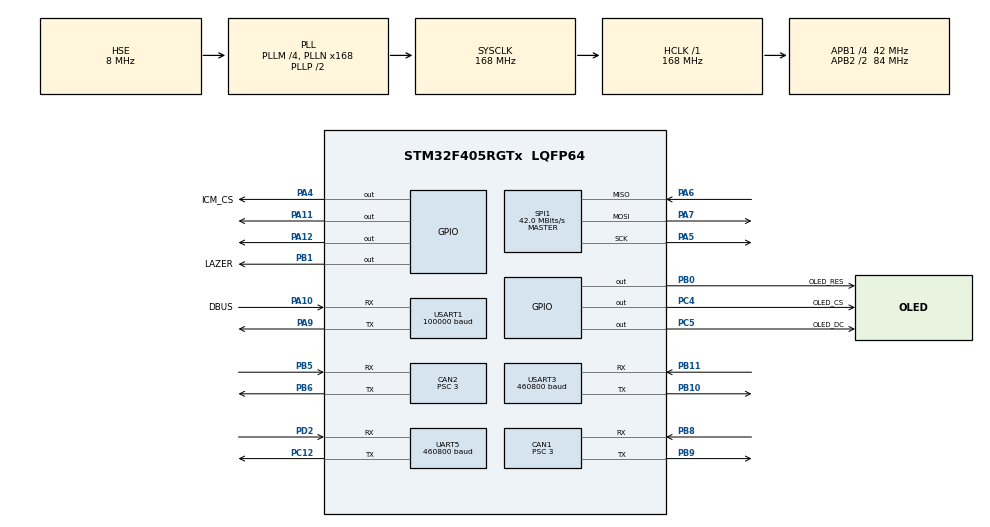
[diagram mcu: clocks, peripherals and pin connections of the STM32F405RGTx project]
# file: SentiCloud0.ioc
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CAN1.ABOM=ENABLE
CAN1.AWUM=DISABLE
CAN1.BS1=CAN_BS1_9TQ
CAN1.BS2=CAN_BS2_4TQ
CAN1.CalculateTimeQuantum=71.42857142857143
CAN1.NART=DISABLE
CAN1.Prescaler=3
CAN2.ABOM=ENABLE
CAN2.AWUM=DISABLE
CAN2.BS1=CAN_BS1_9TQ
CAN2.BS2=CAN_BS2_4TQ
CAN2.CalculateTimeQuantum=71.42857142857143
CAN2.NART=DISABLE
CAN2.Prescaler=3
Dma.Request0=SPI1_TX
Dma.Request1=USART1_RX
Dma.Request2=USART3_RX
Dma.Request3=USART3_TX
Dma.Request4=UART5_RX
Dma.Request5=UART5_TX
Dma.SPI1_TX.0.Direction=DMA_MEMORY_TO_PERIPH
Dma.SPI1_TX.0.FIFOMode=DMA_FIFOMODE_DISABLE
Dma.SPI1_TX.0.Instance=DMA2_Stream3
Dma.SPI1_TX.0.MemDataAlignment=DMA_MDATAALIGN_BYTE
Dma.SPI1_TX.0.MemInc=DMA_MINC_ENABLE
Dma.SPI1_TX.0.Mode=DMA_NORMAL
Dma.SPI1_TX.0.PeriphDataAlignment=DMA_PDATAALIGN_BYTE
Dma.SPI1_TX.0.PeriphInc=DMA_PINC_DISABLE
Dma.SPI1_TX.0.Priority=DMA_PRIORITY_LOW
Dma.UART5_RX.4.Direction=DMA_PERIPH_TO_MEMORY
Dma.UART5_RX.4.FIFOMode=DMA_FIFOMODE_DISABLE
Dma.UART5_RX.4.Instance=DMA1_Stream0
Dma.UART5_RX.4.MemDataAlignment=DMA_MDATAALIGN_BYTE
Dma.UART5_RX.4.MemInc=DMA_MINC_ENABLE
Dma.UART5_RX.4.Mode=DMA_NORMAL
Dma.UART5_RX.4.PeriphDataAlignment=DMA_PDATAALIGN_BYTE
Dma.UART5_RX.4.PeriphInc=DMA_PINC_DISABLE
Dma.UART5_RX.4.Priority=DMA_PRIORITY_LOW
Dma.UART5_TX.5.Direction=DMA_MEMORY_TO_PERIPH
Dma.UART5_TX.5.FIFOMode=DMA_FIFOMODE_DISABLE
Dma.UART5_TX.5.Instance=DMA1_Stream7
Dma.UART5_TX.5.MemDataAlignment=DMA_MDATAALIGN_BYTE
Dma.UART5_TX.5.MemInc=DMA_MINC_ENABLE
Dma.UART5_TX.5.Mode=DMA_NORMAL
Dma.UART5_TX.5.PeriphDataAlignment=DMA_PDATAALIGN_BYTE
Dma.UART5_TX.5.PeriphInc=DMA_PINC_DISABLE
Dma.UART5_TX.5.Priority=DMA_PRIORITY_LOW
Dma.USART1_RX.1.Direction=DMA_PERIPH_TO_MEMORY
Dma.USART1_RX.1.FIFOMode=DMA_FIFOMODE_DISABLE
Dma.USART1_RX.1.Instance=DMA2_Stream2
Dma.USART1_RX.1.MemDataAlignment=DMA_MDATAALIGN_BYTE
Dma.USART1_RX.1.MemInc=DMA_MINC_ENABLE
Dma.USART1_RX.1.Mode=DMA_NORMAL
Dma.USART1_RX.1.PeriphDataAlignment=DMA_PDATAALIGN_BYTE
Dma.USART1_RX.1.PeriphInc=DMA_PINC_DISABLE
Dma.USART1_RX.1.Priority=DMA_PRIORITY_LOW
Dma.USART3_RX.2.Direction=DMA_PERIPH_TO_MEMORY
Dma.USART3_RX.2.FIFOMode=DMA_FIFOMODE_DISABLE
Dma.USART3_RX.2.Instance=DMA1_Stream1
Dma.USART3_RX.2.MemDataAlignment=DMA_MDATAALIGN_BYTE
Dma.USART3_RX.2.MemInc=DMA_MINC_ENABLE
Dma.USART3_RX.2.Mode=DMA_NORMAL
Dma.USART3_RX.2.PeriphDataAlignment=DMA_PDATAALIGN_BYTE
Dma.USART3_RX.2.PeriphInc=DMA_PINC_DISABLE
Dma.USART3_RX.2.Priority=DMA_PRIORITY_LOW
Dma.USART3_TX.3.Direction=DMA_MEMORY_TO_PERIPH
Dma.USART3_TX.3.FIFOMode=DMA_FIFOMODE_DISABLE
Dma.USART3_TX.3.Instance=DMA1_Stream3
Dma.USART3_TX.3.MemDataAlignment=DMA_MDATAALIGN_BYTE
Dma.USART3_TX.3.MemInc=DMA_MINC_ENABLE
Dma.USART3_TX.3.Mode=DMA_NORMAL
Dma.USART3_TX.3.PeriphDataAlignment=DMA_PDATAALIGN_BYTE
Dma.USART3_TX.3.PeriphInc=DMA_PINC_DISABLE
Dma.USART3_TX.3.Priority=DMA_PRIORITY_LOW
FREERTOS.INCLUDE_uxTaskGetStackHighWaterMark=1
FREERTOS.INCLUDE_vTaskDelayUntil=1
FREERTOS.MEMORY_ALLOCATION=0
FREERTOS.Tasks01=defaultTask,0,128,StartDefaultTask,Default,NULL,Dynamic,NULL,NULL
FREERTOS.configLIBRARY_MAX_SYSCALL_INTERRUPT_PRIORITY=5
FREERTOS.configRECORD_STACK_HIGH_ADDRESS=1
Mcu.Family=STM32F4
Mcu.Name=STM32F405RGTx
Mcu.Package=LQFP64
NVIC.CAN1_RX0_IRQn=true\:4\:0\:true\:false\:true\:false\:true\:true
NVIC.CAN2_RX0_IRQn=true\:4\:0\:true\:false\:true\:false\:true\:true
NVIC.DMA1_Stream0_IRQn=true\:5\:0\:false\:false\:true\:true\:false\:true
NVIC.DMA1_Stream1_IRQn=true\:5\:0\:false\:false\:true\:true\:false\:true
NVIC.DMA1_Stream3_IRQn=true\:5\:0\:false\:false\:true\:true\:false\:true
NVIC.DMA1_Stream7_IRQn=true\:5\:0\:false\:false\:true\:true\:false\:true
NVIC.DMA2_Stream2_IRQn=true\:5\:0\:false\:false\:true\:true\:false\:true
NVIC.DMA2_Stream3_IRQn=true\:5\:0\:false\:false\:true\:true\:false\:true
NVIC.PriorityGroup=NVIC_PRIORITYGROUP_4
NVIC.SPI1_IRQn=true\:5\:0\:false\:false\:true\:true\:true\:true
NVIC.TIM8_TRG_COM_TIM14_IRQn=true\:0\:0\:false\:false\:true\:false\:false\:true
NVIC.TimeBase=TIM8_TRG_COM_TIM14_IRQn
NVIC.TimeBaseIP=TIM14
NVIC.UART5_IRQn=true\:6\:0\:true\:false\:true\:true\:true\:true
NVIC.USART1_IRQn=true\:5\:0\:false\:false\:true\:true\:true\:true
NVIC.USART3_IRQn=true\:5\:0\:false\:false\:true\:true\:true\:true
PA10.GPIO_Label=DBUS
PA10.Mode=Asynchronous
PA10.Signal=USART1_RX
PA11.Signal=GPIO_Output
PA12.Signal=GPIO_Output
PA13.Mode=Serial_Wire
PA13.Signal=SYS_JTMS-SWDIO
PA14.Mode=Serial_Wire
PA14.Signal=SYS_JTCK-SWCLK
PA4.GPIO_Label=ICM_CS
PA4.Signal=GPIO_Output
PA5.Mode=Full_Duplex_Master
PA5.Signal=SPI1_SCK
PA6.Mode=Full_Duplex_Master
PA6.Signal=SPI1_MISO
PA7.Mode=Full_Duplex_Master
PA7.Signal=SPI1_MOSI
PA9.Mode=Asynchronous
PA9.Signal=USART1_TX
PB0.GPIO_Label=OLED_RES
PB0.Signal=GPIO_Output
PB1.GPIO_Label=LAZER
PB1.Signal=GPIO_Output
PB10.Mode=Asynchronous
PB10.Signal=USART3_TX
PB11.Mode=Asynchronous
PB11.Signal=USART3_RX
PB5.Mode=Slave
PB5.Signal=CAN2_RX
PB6.Mode=Slave
PB6.Signal=CAN2_TX
PB8.Mode=Master
PB8.Signal=CAN1_RX
PB9.Mode=Master
PB9.Signal=CAN1_TX
PC12.Mode=Asynchronous
PC12.Signal=UART5_TX
PC4.GPIO_Label=OLED_CS
PC4.Signal=GPIO_Output
PC5.GPIO_Label=OLED_DC
PC5.Signal=GPIO_Output
PD2.Mode=Asynchronous
PD2.Signal=UART5_RX
PH0-OSC_IN.Mode=HSE-External-Oscillator
PH0-OSC_IN.Signal=RCC_OSC_IN
PH1-OSC_OUT.Mode=HSE-External-Oscillator
PH1-OSC_OUT.Signal=RCC_OSC_OUT
ProjectManager.HeapSize=0x800
ProjectManager.StackSize=0x800
ProjectManager.TargetToolchain=MDK-ARM V5
RCC.48MHZClocksFreq_Value=84000000
RCC.AHBFreq_Value=168000000
RCC.APB1CLKDivider=RCC_HCLK_DIV4
RCC.APB1Freq_Value=42000000
RCC.APB1TimFreq_Value=84000000
RCC.APB2CLKDivider=RCC_HCLK_DIV2
RCC.APB2Freq_Value=84000000
RCC.APB2TimFreq_Value=168000000
RCC.CortexFreq_Value=168000000
RCC.HCLKFreq_Value=168000000
RCC.HSE_VALUE=8000000
RCC.HSI_VALUE=16000000
RCC.LSE_VALUE=32768
RCC.PLLM=4
RCC.PLLN=168
RCC.PLLSourceVirtual=RCC_PLLSOURCE_HSE
RCC.SYSCLKFreq_VALUE=168000000
RCC.SYSCLKSource=RCC_SYSCLKSOURCE_PLLCLK
RCC.VCOOutputFreq_Value=336000000
SPI1.CalculateBaudRate=42.0 MBits/s
SPI1.Direction=SPI_DIRECTION_2LINES
SPI1.Mode=SPI_MODE_MASTER
SPI1.VirtualType=VM_MASTER
UART5.BaudRate=460800
UART5.VirtualMode=Asynchronous
UART5.WordLength=WORDLENGTH_8B
USART1.BaudRate=100000
USART1.Parity=PARITY_EVEN
USART1.VirtualMode=VM_ASYNC
USART1.WordLength=WORDLENGTH_9B
USART3.BaudRate=460800
USART3.VirtualMode=VM_ASYNC
VP_FREERTOS_VS_CMSIS_V1.Mode=CMSIS_V1
VP_SYS_VS_tim14.Mode=TIM14
board=custom

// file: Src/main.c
/* USER CODE BEGIN Header */
/**
  ******************************************************************************
  * @file           : main.c
  * @brief          : Main program body
  ******************************************************************************
  * @attention
  *
  * <h2><center>&copy; Copyright (c) 2020 STMicroelectronics.
  * All rights reserved.</center></h2>
  *
  * This software component is licensed by ST under BSD 3-Clause license,
  * the "License"; You may not use this file except in compliance with the
  * License. You may obtain a copy of the License at:
  *                        opensource.org/licenses/BSD-3-Clause
  *
  ******************************************************************************
  */
/* USER CODE END Header */

#include "main.h"
#include "cmsis_os.h"
#include "can.h"
#include "dma.h"
#include "spi.h"
#include "usart.h"
#include "gpio.h"

/* USER CODE BEGIN Includes */
//#include "stdio.h"	// stdio.h may cause CAN RX error
//#include "stdio.h"
#include "task_SentiCloud.hpp"
#include <string.h>
#include "SEGGER_SYSVIEW.h"
//#include "app_AmmoFeed.hpp"
/* USER CODE END Includes */

void SystemClock_Config(void);
void MX_FREERTOS_Init(void);

/* USER CODE BEGIN 0 */

#ifdef __MAIN_DEBUG
uint8_t buf[100];
uint8_t s[] = "uart-test";

#ifdef __VISION_TEST

int v_case;

uint8_t str_normal[] = {0xff,0x13,0x9a,0x99,0x99,0x3f,0x9a,0x99,0x59,0x40,0x1,0x98,0x0,0x0,0x0,0x0,0x8f,0xd};
uint8_t s1[] = {0xff ,0x13 ,0x9a ,0x99 ,0x99 ,0x3f ,0x9a ,0x99 ,0x59 ,0x40,0x1 ,0xfa ,0x0 ,0x0 ,0x0 ,0x0 ,0xf1 ,0xd};
uint8_t trush[] = {0x13, 0x9a ,0x99,0x99, 0x3f};
uint8_t s2[] = {0xff ,0x13 ,0x9a ,0x99 ,0x99 ,0x3f ,0x9a ,0x99 ,0x59 ,0x40,0x1 ,0xfb ,0x0 ,0x0 ,0x0 ,0x0 ,0xf2 ,0xd };

uint8_t s3_a[] = {0x13, 0x9a ,0x99,0x99, 0x3f,0xff ,0x13 ,0x9a ,0x99 ,0x99 ,0x3f ,0x9a ,0x99 ,0x59 ,0x40,0x1 ,0xfa ,0x0};
uint8_t s3_b_s[] = {0x0 ,0x0 ,0x0 ,0xf1 ,0xd,0xff ,0x13 ,0x9a ,0x99 ,0x99 ,0x3f ,0x9a ,0x99 ,0x59 ,0x40,0x1 ,0xfb ,0x0 ,0x0 ,0x0 ,0x0 ,0xf2 ,0xd };

uint8_t trush4[]={0x54 ,0x13 ,0x9a ,0x99 ,0x99 ,0x3f ,0x9a ,0x99 ,0x59 ,0x40,0x1 ,0xfa ,0x20 ,0xa0 ,0x0 ,0x0 ,0x41 ,0x6d};
uint8_t s4_a[]={0xff ,0x13 ,0x9a ,0x99 ,0x99 ,0x3f ,0x9a ,0x99 ,0x59 ,0x40,0x1 ,0xfa ,0x0};
uint8_t s4_b[]={0x0 ,0x0 ,0x0 ,0xf1 ,0xd};

uint8_t s5[] = {0xff ,0x13 ,0x9a ,0x99 ,0x99 ,0x3f ,0x9a ,0x99 ,0x59,0x40,0x1,0xfa,0x0,0xff,
0x13,0x0,0xf1,0xd,0x01,0x02,0x03,0x04,0x05,0x06,0x07,0x08,0x09,0xa,0xb,0x5f,0xd};

void v_buf_insert(uint8_t* pdata, int size)
{
    memcpy(Vision_Rxbuffer+not_analysed_index,  pdata, size);
    not_analysed_index += size;
    if(not_analysed_index>120)
        not_analysed_index = 120;
}
void v_buf_clr()
{
    not_analysed_index = 0;
    memset(Vision_Rxbuffer,0,sizeof(Vision_Rxbuffer));
}

#endif // __VISION_TEST

#endif // __MAIN_DEBUG

//#ifdef __stdio_h

//#ifdef __GNUC__
//  #define PUTCHAR_PROTOTYPE int __io_putchar(int ch)
//#else
//  #define PUTCHAR_PROTOTYPE int fputc(int ch, FILE *f)
//#endif

//PUTCHAR_PROTOTYPE
//{
//	if(HAL_UART_Transmit(&huart5,(uint8_t*)&ch,1,0xff) == HAL_OK)
//		return ch;
//	else
//		return EOF;
//}

//#undef PUTCHAR_PROTOTYPE

//#endif
//extern Motor_t DJI_2006;
//pid FeedSpeed(20, 0, 1, 1000, 7000);
//pid FeedPositon(0.5, 0.01, 0, 1000, 20000, 0, 200);
//AmmoFeed ttt(1,0x201,&DJI_2006,7, -1, &FeedSpeed, &FeedPositon);

//int k;

//int32_t ttt_free_spd=-3000;
//int16_t ttt_d_time=100;
//int16_t ttt_trig;

extern float p,y;

/* USER CODE END 0 */

int main(void)
{

  /* MCU Configuration--------------------------------------------------------*/

  /* Reset of all peripherals, Initializes the Flash interface and the Systick. */
  HAL_Init();

  /* Configure the system clock */
  SystemClock_Config();

  /* Initialize all configured peripherals */
  MX_GPIO_Init();
  MX_DMA_Init();
  MX_SPI1_Init();
  MX_UART5_Init();
  MX_USART1_UART_Init();
  MX_USART3_UART_Init();
  MX_CAN1_Init();
  MX_CAN2_Init();
  /* USER CODE BEGIN 2 */

  Cloud_Init();	// Sentinal Cloud Hardware Init 硬件初始???
//    bsp_can_Init();  //CAN总线初始化函??
//    manager::CANSelect(&hcan1, &hcan2); //大疆can电机库初始化（???CAN??
	SEGGER_SYSVIEW_Conf();
	TaskStarter(); /// ???????????

  /* USER CODE END 2 */

  /* Call init function for freertos objects (in freertos.c) */
  MX_FREERTOS_Init();

  /* Start scheduler */
  osKernelStart();

  /* We should never get here as control is now taken by the scheduler */

  /* Infinite loop */
  /* USER CODE BEGIN WHILE */

//  ttt.Enable_Block(6000,200,5);
//  ttt.Burst_Set(3,100,&ttt_trig);
  while (1)
  {
//	  ttt.Burst_Set(3,100,&ttt_trig);
//	  manager::CANSend();
	  HAL_Delay(1);
    /* USER CODE END WHILE */

  }
}

void SystemClock_Config(void)
{
  RCC_OscInitTypeDef RCC_OscInitStruct = {0};
  RCC_ClkInitTypeDef RCC_ClkInitStruct = {0};

  /** Configure the main internal regulator output voltage
  */
  __HAL_RCC_PWR_CLK_ENABLE();
  __HAL_PWR_VOLTAGESCALING_CONFIG(PWR_REGULATOR_VOLTAGE_SCALE1);
  /** Initializes the CPU, AHB and APB busses clocks
  */
  RCC_OscInitStruct.OscillatorType = RCC_OSCILLATORTYPE_HSE;
  RCC_OscInitStruct.HSEState = RCC_HSE_ON;
  RCC_OscInitStruct.PLL.PLLState = RCC_PLL_ON;
  RCC_OscInitStruct.PLL.PLLSource = RCC_PLLSOURCE_HSE;
  RCC_OscInitStruct.PLL.PLLM = 4;
  RCC_OscInitStruct.PLL.PLLN = 168;
  RCC_OscInitStruct.PLL.PLLP = RCC_PLLP_DIV2;
  RCC_OscInitStruct.PLL.PLLQ = 4;
  if (HAL_RCC_OscConfig(&RCC_OscInitStruct) != HAL_OK)
  {
    Error_Handler();
  }
  /** Initializes the CPU, AHB and APB busses clocks
  */
  RCC_ClkInitStruct.ClockType = RCC_CLOCKTYPE_HCLK|RCC_CLOCKTYPE_SYSCLK
                              |RCC_CLOCKTYPE_PCLK1|RCC_CLOCKTYPE_PCLK2;
  RCC_ClkInitStruct.SYSCLKSource = RCC_SYSCLKSOURCE_PLLCLK;
  RCC_ClkInitStruct.AHBCLKDivider = RCC_SYSCLK_DIV1;
  RCC_ClkInitStruct.APB1CLKDivider = RCC_HCLK_DIV4;
  RCC_ClkInitStruct.APB2CLKDivider = RCC_HCLK_DIV2;

  if (HAL_RCC_ClockConfig(&RCC_ClkInitStruct, FLASH_LATENCY_5) != HAL_OK)
  {
    Error_Handler();
  }
}

void HAL_TIM_PeriodElapsedCallback(TIM_HandleTypeDef *htim)
{
  if (htim->Instance == TIM14) {
    HAL_IncTick();
  }
}

void Error_Handler(void)
{
  /* USER CODE BEGIN Error_Handler_Debug */
  /* User can add his own implementation to report the HAL error return state */
	while(1U)
	{
		HAL_Delay(1);	// Error waiting debug.
	}
  /* USER CODE END Error_Handler_Debug */
}

#ifdef  USE_FULL_ASSERT
/**
  * @brief  Reports the name of the source file and the source line number
  *         where the assert_param error has occurred.
  * @param  file: pointer to the source file name
  * @param  line: assert_param error line source number
  * @retval None
  */
void assert_failed(uint8_t *file, uint32_t line)
{
  /* USER CODE BEGIN 6 */
  /* User can add his own implementation to report the file name and line number,
     tex: printf("Wrong parameters value: file %s on line %d\r\n", file, line) */
	printf("Wrong parameters value: file %s on line %d\r\n", file, line);
  /* USER CODE END 6 */
}
#endif /* USE_FULL_ASSERT */

/************************ (C) COPYRIGHT STMicroelectronics *****END OF FILE****/

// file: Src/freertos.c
/* USER CODE BEGIN Header */
/**
  ******************************************************************************
  * File Name          : freertos.c
  * Description        : Code for freertos applications
  ******************************************************************************
  * @attention
  *
  * <h2><center>&copy; Copyright (c) 2020 STMicroelectronics.
  * All rights reserved.</center></h2>
  *
  * This software component is licensed by ST under Ultimate Liberty license
  * SLA0044, the "License"; You may not use this file except in compliance with
  * the License. You may obtain a copy of the License at:
  *                             www.st.com/SLA0044
  *
  ******************************************************************************
  */
/* USER CODE END Header */

#include "FreeRTOS.h"
#include "task.h"
#include "main.h"
#include "cmsis_os.h"

osThreadId defaultTaskHandle;

void StartDefaultTask(void const * argument);

void MX_FREERTOS_Init(void); /* (MISRA C 2004 rule 8.1) */

void MX_FREERTOS_Init(void) {

  /* Create the thread(s) */
  /* definition and creation of defaultTask */
  osThreadDef(defaultTask, StartDefaultTask, osPriorityNormal, 0, 128);
  defaultTaskHandle = osThreadCreate(osThread(defaultTask), NULL);

}

void StartDefaultTask(void const * argument)
{
  for(;;)
  {
    osDelay(1);
  }
}

/************************ (C) COPYRIGHT STMicroelectronics *****END OF FILE****/
